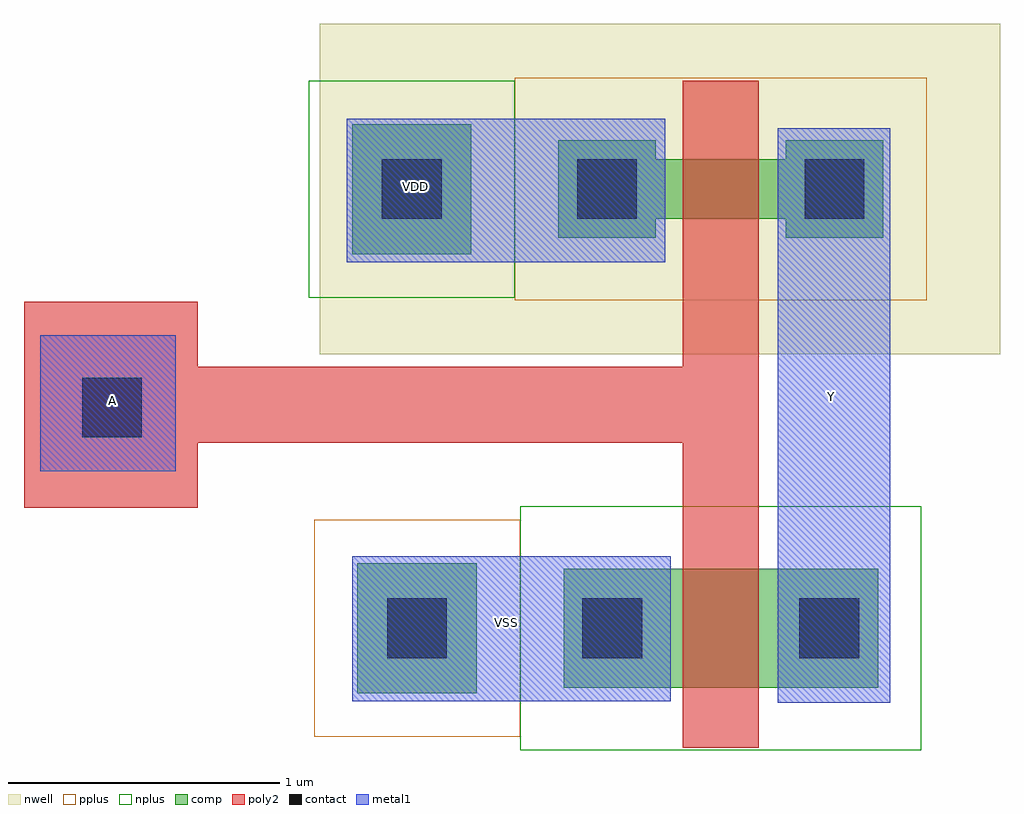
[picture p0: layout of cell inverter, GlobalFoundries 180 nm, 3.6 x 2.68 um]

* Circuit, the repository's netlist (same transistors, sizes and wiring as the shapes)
* ==========================================
* CLEAN CDL NETLIST FOR KLAYOUT LVS
* Circuit: CMOS Inverter
* Technology: GLOBALFOUNDRIES 0.18um (gf180mcu)
* ==========================================

.subckt inverter VDD A Y VSS
*.PININFO A:I VSS:B VDD:B Y:O
M1 Y A VDD VDD pfet_03v3 L=0.28u W=0.22u nf=1
M2 Y A VSS VSS nfet_03v3 L=0.28u W=0.44u nf=1
.ends

.end

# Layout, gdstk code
import gdstk
lib = gdstk.Library(unit=1e-6, precision=5e-09)
def R(c, l, rs):  # rectangles x0, y0, x1, y1
    for r in rs: c.add(gdstk.rectangle(r[:2], r[2:], *l))
def P(c, l, *ps):  # polygons
    for p in ps: c.add(gdstk.Polygon(p, *l))
nwell = (21, 0)
comp = (22, 0)
poly2 = (30, 0)
pplus = (31, 0)
nplus = (32, 0)
contact = (33, 0)
metal1 = (34, 0)

nfet = lib.new_cell('nfet')
R(nfet, comp, [(-0.76,-0.02,-0.32,0.46), (0,0,1.16,0.44)])
R(nfet, poly2, [(0.44,-0.22,0.72,0.66)])
R(nfet, pplus, [(-0.92,-0.18,-0.16,0.62)])
R(nfet, nplus, [(-0.16,-0.23,1.32,0.67)])
R(nfet, contact, [(-0.65,0.11,-0.43,0.33), (0.07,0.11,0.29,0.33), (0.87,0.11,1.09,0.33)])
R(nfet, metal1, [(-0.76,-0.02,-0.32,0.46), (-0.01,-0.01,0.37,0.45), (0.79,-0.01,1.17,0.45)])

pfet = lib.new_cell('pfet')
R(pfet, nwell, [(-0.88,-0.43,1.63,0.79)])
R(pfet, comp, [(-0.76,-0.06,-0.32,0.42)])
P(pfet, comp, [(0,0),(0,0.36),(0.36,0.36),(0.36,0.29),(0.84,0.29),(0.84,0.36),(1.2,0.36),(1.2,0),(0.84,0),(0.84,0.07),(0.36,0.07),(0.36,0)])
R(pfet, poly2, [(0.46,-0.22,0.74,0.58)])
R(pfet, pplus, [(-0.16,-0.23,1.36,0.59)])
R(pfet, nplus, [(-0.92,-0.22,-0.16,0.58)])
R(pfet, contact, [(-0.65,0.07,-0.43,0.29), (0.07,0.07,0.29,0.29), (0.91,0.07,1.13,0.29)])
R(pfet, metal1, [(-0.76,-0.06,-0.32,0.42), (-0.01,-0.01,0.37,0.37), (0.83,-0.01,1.21,0.37)])

inverter = lib.new_cell('inverter')
R(inverter, poly2, [(0.175,0.175,0.455,1.1), (-2.255,0.26,-1.615,1.02), (-1.67,0.5,0.28,0.78)])
R(inverter, contact, [(-2.04,0.52,-1.82,0.74)])
R(inverter, metal1, [(0.525,-0.46,0.94,1.66), (-1.045,-0.455,0.13,0.08), (-2.195,0.395,-1.695,0.895), (-1.065,1.165,0.11,1.695)])
inverter.add(gdstk.Reference(nfet, (-0.265,-0.405)))
inverter.add(gdstk.Reference(pfet, (-0.285,1.255)))
inverter.add(gdstk.Label('VDD', (-0.81,1.445), layer=34, texttype=10))
inverter.add(gdstk.Label('VSS', (-0.475,-0.165), layer=34, texttype=10))
inverter.add(gdstk.Label('Y', (0.725,0.67), layer=34, texttype=10))
inverter.add(gdstk.Label('A', (-1.93,0.655), layer=34, texttype=10))

lib.write_gds('inverter.gds')
